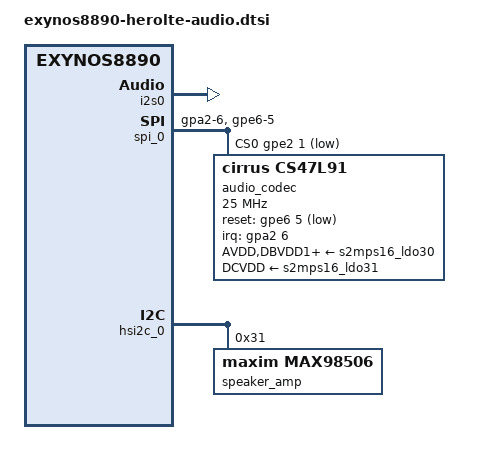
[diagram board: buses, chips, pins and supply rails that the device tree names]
// SPDX-License-Identifier: GPL-2.0 OR BSD-3-Clause
/*
 * Samsung Galaxy S7 (herolte) basic CS47L91 audio bring-up.
 *
 * This covers the AP AIF1 PCM path and a conservative AIF4-to-MAX98506
 * speaker path. Modem voice, compressed/offload audio and voice control are
 * left for separate follow-up work.
 */

#include <dt-bindings/clock/samsung,s2mps11.h>
#include <dt-bindings/gpio/gpio.h>
#include <dt-bindings/interrupt-controller/arm-gic.h>
#include <dt-bindings/interrupt-controller/irq.h>
#include <dt-bindings/sound/madera.h>

&pinctrl_alive {
	codec_irq: codec-irq-pins {
		samsung,pins = "gpa2-6";
		samsung,pin-function = <EXYNOS_PIN_FUNC_EINT>;
		samsung,pin-pud = <EXYNOS_PIN_PULL_NONE>;
	};
};

&pinctrl_peric1 {
	codec_reset: codec-reset-pins {
		samsung,pins = "gpe6-5";
		samsung,pin-function = <EXYNOS_PIN_FUNC_OUTPUT>;
		samsung,pin-pud = <EXYNOS_PIN_PULL_UP>;
	};
};

&soc {
	lpass: audio-subsystem@11400000 {
		compatible = "samsung,exynos8890-lpass";
		reg = <0x11400000 0x100>,
		      <0x03000000 0x24000>,
		      <0x11500000 0x100>;

		clocks = <&cmu_aud CLK_GOUT_AUD_PCLK_SFR0>;
		clock-names = "sfr0_ctrl";

		#address-cells = <1>;
		#size-cells = <1>;
		ranges;

		adma: dma-controller@11420000 {
			compatible = "arm,pl330", "arm,primecell";
			reg = <0x11420000 0x1000>;
			interrupts = <GIC_SPI 66 IRQ_TYPE_LEVEL_HIGH>;

			clocks = <&cmu_aud CLK_GOUT_AUD_ACLK_DMAC>;
			clock-names = "apb_pclk";

			#dma-cells = <1>;
			dma-channels = <8>;
			dma-requests = <16>;
			arm,primecell-periphid = <0x341330>;
		};

		i2s0: i2s@11440000 {
			compatible = "samsung,exynos7-i2s";
			reg = <0x11440000 0x100>;
			interrupts = <GIC_SPI 63 IRQ_TYPE_LEVEL_HIGH>;

			dmas = <&adma 0>, <&adma 2>;
			dma-names = "tx", "rx";

			clocks = <&cmu_aud CLK_GOUT_AUD_PCLK_I2S>,
				 <&cmu_aud CLK_GOUT_AUD_SCLK_I2S>,
				 <&cmu_aud CLK_GOUT_AUD_SCLK_I2S_BCLK>;
			clock-names = "iis", "i2s_opclk0", "i2s_opclk1";

			#clock-cells = <1>;
			#sound-dai-cells = <1>;

			pinctrl-0 = <&i2s0_bus>;
			pinctrl-names = "default";
		};
	};

	spi_0: spi@14d20000 {
		compatible = "samsung,exynos7-spi";
		reg = <0x14d20000 0x100>;
		interrupts = <GIC_SPI 448 IRQ_TYPE_LEVEL_HIGH>;

		clocks = <&cmu_peric1 CLK_GOUT_PERIC1_PCLK_SPI0>,
			 <&cmu_peric1 CLK_GOUT_PERIC1_SCLK_SPI0>;
		clock-names = "spi", "spi_busclk0";
		samsung,spi-src-clk = <0>;

		pinctrl-0 = <&spi0_bus &spi0_cs &codec_irq &codec_reset>;
		pinctrl-names = "default";

		#address-cells = <1>;
		#size-cells = <0>;
		num-cs = <1>;
		cs-gpios = <&gpe2 1 GPIO_ACTIVE_LOW>;

		audio_codec: codec@0 {
			compatible = "cirrus,cs47l91";
			reg = <0>;
			spi-max-frequency = <25000000>;

			interrupt-parent = <&gpa2>;
			interrupts = <6 IRQ_TYPE_LEVEL_LOW>;
			interrupt-controller;
			#interrupt-cells = <2>;

			gpio-controller;
			#gpio-cells = <2>;
			#sound-dai-cells = <1>;

			reset-gpios = <&gpe6 5 GPIO_ACTIVE_LOW>;

			AVDD-supply = <&s2mps16_ldo30>;
			DBVDD1-supply = <&s2mps16_ldo30>;
			DBVDD2-supply = <&s2mps16_ldo30>;
			DBVDD3-supply = <&s2mps16_ldo30>;
			DBVDD4-supply = <&s2mps16_ldo30>;
			CPVDD1-supply = <&s2mps16_ldo30>;
			CPVDD2-supply = <&s2mps16_ldo30>;
			DCVDD-supply = <&s2mps16_ldo31>;

			clocks = <&s2mps16_osc S2MPS11_CLK_AP>;
			clock-names = "mclk2";

			cirrus,dmic-ref = <MADERA_DMIC_REF_MICBIAS2
					    MADERA_DMIC_REF_MICBIAS1>;
			cirrus,max-channels-clocked = <2 0 0 0>;
			cirrus,out-mono = <0 1 1>;

			pinctrl-0 = <&audio_codec_pins>;
			pinctrl-names = "default";

			audio_codec_pins: pin-settings {
				aif1-pins {
					groups = "aif1";
					function = "aif1";
				};

				aif4-pins {
					groups = "aif4";
					function = "aif4";
				};
			};
		};
	};
};

&hsi2c_0 {
	status = "okay";

	speaker_amp: amplifier@31 {
		compatible = "maxim,max98506";
		reg = <0x31>;
		#sound-dai-cells = <0>;
	};
};

/ {
	sound {
		compatible = "samsung,herolte-audio";
		model = "Samsung Galaxy S7";

		audio-codec = <&audio_codec>;
		speaker-codec = <&speaker_amp>;
		i2s-controller = <&i2s0 0>;

		audio-routing =
			"HP", "HPOUT1L",
			"HP", "HPOUT1R",
			"RCV", "HPOUT3L",
			"RCV", "HPOUT3R",
			"SPK", "SPKOUT",
			"Main Mic", "MICBIAS2A",
			"IN1ARN", "Main Mic",
			"IN1ARP", "Main Mic",
			"Headset Mic", "MICBIAS1A",
			"IN2BLN", "Headset Mic",
			"IN2BLP", "Headset Mic",
			"Sub Mic", "MICBIAS2B",
			"DMICCLK3", "Sub Mic",
			"DMICDAT3", "Sub Mic";
	};
};
